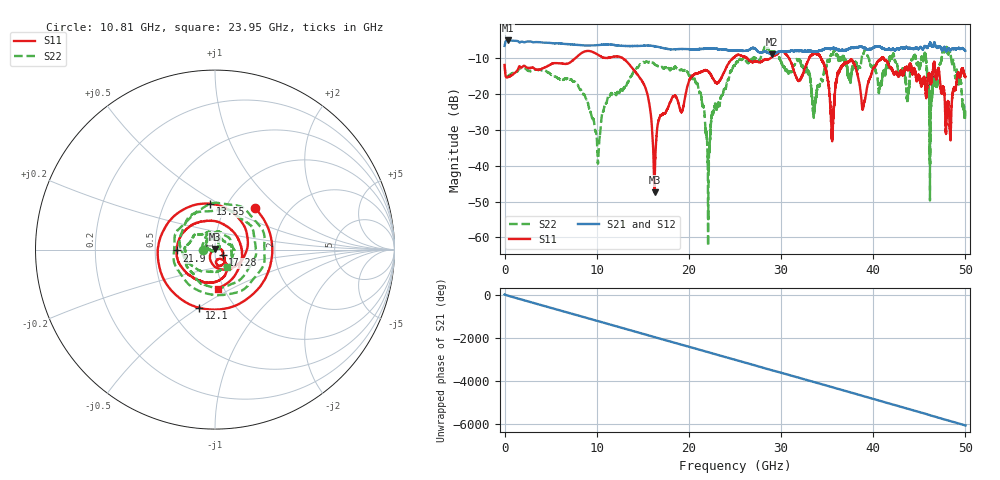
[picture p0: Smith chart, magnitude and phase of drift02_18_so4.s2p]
!Created with skrf (http://scikit-rf.org).
# Hz S RI R 50.0
!freq ReS11 ImS11 ReS21 ImS21 ReS12 ImS12 ReS22 ImS22
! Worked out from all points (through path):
!   10001 points, 300 kHz to 50 GHz, reference 50 ohm
!   highest |S21| = -5.04 dB at 325.3 MHz (marker M1); lowest = -8.9 dB at 29.05 GHz (marker M2)
!   group delay of S21, straight-line fit = 336 ps
!   lowest |S11| = -47.4 dB at 16.27 GHz (marker M3), VSWR 1.01, Z = 49.9 + j0.419 ohm
!   |S11| at or under -10 dB: start of sweep to 7.668 GHz; 12.82 GHz to 24.77 GHz (11.95 GHz wide, 63.6 % of centre); 41.12 GHz to end of sweep (the widest 3 of 13)
!   |S22| runs from -62.5 to -6.8 dB; largest |S21 - S12| = 0.031
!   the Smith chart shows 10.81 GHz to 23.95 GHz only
!   S11 on the Smith chart (normalised r, x): 10.81 GHz: 1.37, +0.71; 12.1 GHz: 0.69, -0.50; 13.55 GHz: 0.83, +0.45; 17.28 GHz: 1.09, -0.07; 21.9 GHz: 0.65, -0.01; 23.95 GHz: 0.94, -0.43
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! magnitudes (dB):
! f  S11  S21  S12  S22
! 300 kHz  -11.9  -6.6  -6.5  -11.7
! 325.3 MHz  -15.3  -5.0  -5.0  -15.1
! 8.335 GHz  -8.6  -6.4  -6.4  -19.1
! 10.11 GHz  -9.0  -6.3  -6.3  -38.0
! 10.81 GHz  -9.8  -6.2  -6.2  -23.7
! 12.1 GHz  -9.5  -6.4  -6.4  -20.3
! 13.55 GHz  -11.8  -6.6  -6.6  -15.9
! 16.27 GHz  -47.4  -6.6  -6.6  -11.7
! 16.67 GHz  -27.6  -6.8  -6.8  -12.2
! 17.28 GHz  -25.5  -7.2  -7.2  -12.9
! 20.74 GHz  -14.3  -7.5  -7.5  -16.9
! 21.9 GHz  -13.4  -7.3  -7.3  -31.7
! 23.95 GHz  -13.2  -7.6  -7.6  -18.6
! 25 GHz  -9.5  -7.8  -7.9  -11.8
! 29.05 GHz  -9.6  -8.9  -8.9  -8.2
! 33.34 GHz  -9.1  -8.0  -8.0  -19.9
! 35.54 GHz  -32.0  -7.3  -7.3  -9.1
! 36.8 GHz  -11.9  -7.9  -7.8  -10.1
! 41.67 GHz  -12.0  -7.4  -7.5  -11.7
! 46.26 GHz  -17.0  -6.2  -6.2  -24.5
! 48.11 GHz  -22.6  -7.3  -7.2  -8.7
! 50 GHz  -15.2  -7.9  -7.9  -23.9
